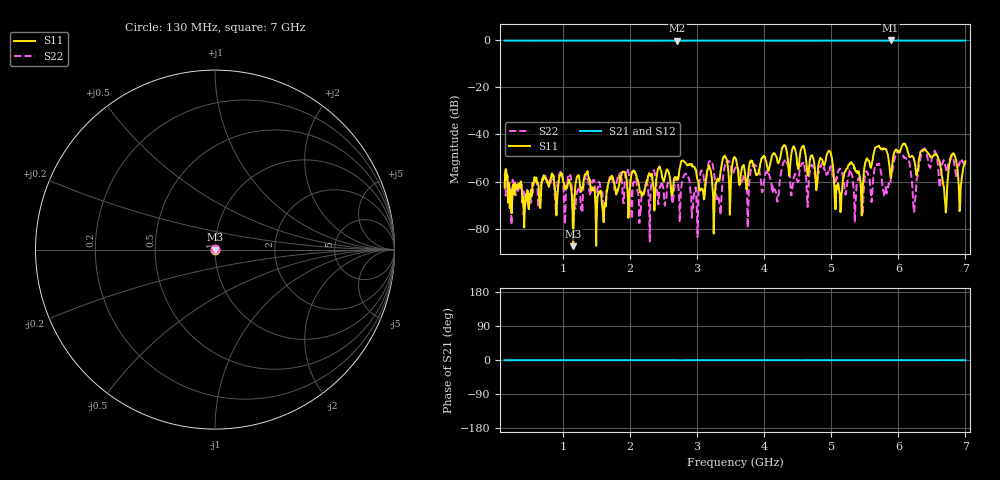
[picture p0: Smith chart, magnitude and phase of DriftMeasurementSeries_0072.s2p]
# Hz S RI R 50.000000
! Metas.Vna.Tools, 2.8.8664.20301
! Metas.Vna.Data, 2.8.8664.20285
! Created: UTC 2024.02.11 10:08:37
! FREQ  re:S1,1  im:S1,1  re:S2,1  im:S2,1  re:S1,2  im:S1,2  re:S2,2  im:S2,2
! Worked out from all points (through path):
!   801 points, 130 MHz to 7 GHz, reference 50 ohm
!   highest |S21| = -0.03 dB at 5.884 GHz (marker M1); lowest = -0.2 dB at 2.706 GHz (marker M2)
!   lowest |S11| = -87.5 dB at 1.152 GHz (marker M3), VSWR 1.00, Z = 50 - j0.00244 ohm
!   |S11| at or under -10 dB: start of sweep to end of sweep
!   |S22| runs from -85.4 to -45.8 dB; largest |S21 - S12| = 0.019
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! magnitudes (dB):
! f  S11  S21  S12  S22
! 130 MHz  -62.5  -0.1  0.0  -56.7
! 1.152 GHz  -87.5  -0.1  0.0  -70.5
! 1.281 GHz  -62.7  -0.1  0.0  -69.2
! 2.423 GHz  -54.4  -0.1  0.0  -69.7
! 2.706 GHz  -58.2  -0.2  0.0  -61.0
! 3.264 GHz  -65.8  -0.1  0.0  -59.5
! 3.565 GHz  -49.9  -0.1  0.0  -54.5
! 4.183 GHz  -49.6  -0.1  0.0  -65.9
! 4.304 GHz  -44.8  -0.1  0.0  -51.3
! 4.716 GHz  -48.8  -0.1  0.0  -52.9
! 4.973 GHz  -47.1  -0.1  0.0  -55.6
! 5.128 GHz  -65.1  -0.1  0.0  -54.5
! 5.858 GHz  -51.3  -0.1  0.0  -60.7
! 5.884 GHz  -58.2  0.0  0.0  -59.8
! 6.021 GHz  -47.3  -0.1  0.0  -47.8
! 6.244 GHz  -51.8  -0.1  0.0  -69.7
! 6.365 GHz  -46.4  -0.1  0.0  -47.4
! 6.553 GHz  -48.5  -0.1  0.0  -47.5
! 6.699 GHz  -69.0  -0.1  0.0  -53.1
! 6.802 GHz  -48.5  -0.1  0.0  -49.1
! 6.923 GHz  -69.3  -0.1  0.0  -51.0
! 7 GHz  -51.4  -0.1  0.0  -54.1
